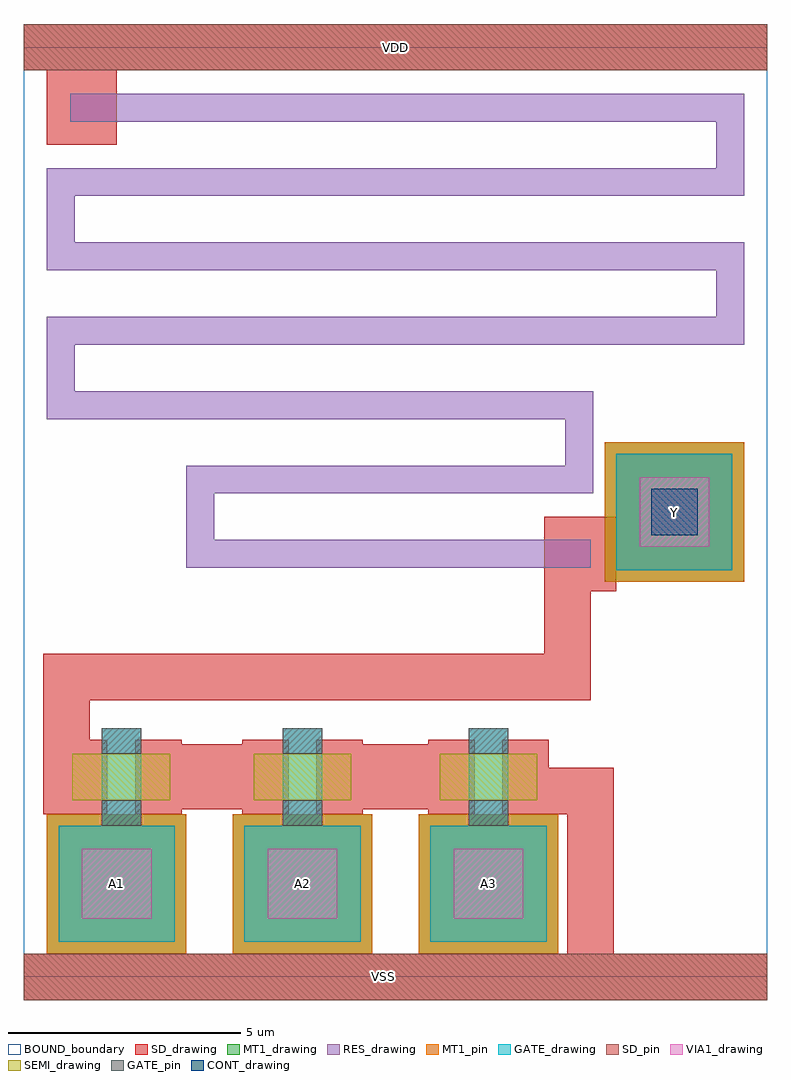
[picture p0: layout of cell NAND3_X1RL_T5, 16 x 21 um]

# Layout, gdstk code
from math import pi, radians
import gdstk
lib = gdstk.Library(unit=1e-6, precision=1e-09)
def R(c, l, rs):  # rectangles x0, y0, x1, y1
    for r in rs: c.add(gdstk.rectangle(r[:2], r[2:], *l))
def A(c, l, x, y, w, h, nx, ny, dx, dy):  # array of equal rectangles
    R(c, l, [(x+i*dx, y+j*dy, x+i*dx+w, y+j*dy+h) for i in range(nx) for j in range(ny)])
def P(c, l, *ps):  # polygons
    for p in ps: c.add(gdstk.Polygon(p, *l))
RES_drawing = (1, 0)
SEMI_drawing = (3, 0)
SD_drawing = (10, 0)
SD_pin = (10, 3)
GATE_drawing = (11, 0)
GATE_pin = (11, 3)
MT1_drawing = (20, 0)
MT1_pin = (20, 3)
CONT_drawing = (30, 0)
VIA1_drawing = (41, 0)
BOUND_boundary = (150, 5)

nch_cdns_772545020590 = lib.new_cell('nch_CDNS_772545020590')
R(nch_cdns_772545020590, SEMI_drawing, [(-1.05,-0.5,1.05,0.5)])
R(nch_cdns_772545020590, SD_drawing, [(-1.3,-0.8,-0.3,0.8), (0.3,-0.8,1.3,0.8)])
R(nch_cdns_772545020590, GATE_drawing, [(-0.425,-1.05,0.425,1.05)])
R(nch_cdns_772545020590, GATE_pin, [(-0.425,-1.05,0.425,-0.5), (-0.425,0.5,0.425,1.05)])

gate_mt1_cdns_7725450205 = lib.new_cell('GATE_MT1_CDNS_772545020590')
R(gate_mt1_cdns_7725450205, GATE_drawing, [(-1.25,-1.25,1.25,1.25)])
R(gate_mt1_cdns_7725450205, MT1_drawing, [(-1.25,-1.25,1.25,1.25)])
R(gate_mt1_cdns_7725450205, VIA1_drawing, [(-0.75,-0.75,0.75,0.75)])

sd_gate_cdns_77254502059 = lib.new_cell('SD_GATE_CDNS_772545020591')
R(sd_gate_cdns_77254502059, SD_drawing, [(-1,-1,1,1)])
R(sd_gate_cdns_77254502059, GATE_drawing, [(-1,-1,1,1)])
R(sd_gate_cdns_77254502059, CONT_drawing, [(-0.5,-0.5,0.5,0.5)])

nand3_x1rl_t5 = lib.new_cell('NAND3_X1RL_T5')
R(nand3_x1rl_t5, SD_drawing, [(11.2,8.3,12.75,9.9), (12.75,8.75,15.25,11.25), (0.5,17.9,2,19.5)])
R(nand3_x1rl_t5, SD_pin, [(0,-0.5,16,0.5), (0,19.5,16,20.5)])
P(nand3_x1rl_t5, GATE_drawing, [(9.475,3.15),(10.475,3.15),(10.475,3.25),(10.375,3.25),(10.375,3.3),(9.625,3.3),(9.625,3.25),(9.475,3.25)],
  [(5.475,3.15),(6.475,3.15),(6.475,3.25),(6.375,3.25),(6.375,3.3),(5.625,3.3),(5.625,3.25),(5.475,3.25)],
  [(1.575,3.15),(2.575,3.15),(2.575,3.25),(2.475,3.25),(2.475,3.3),(1.725,3.3),(1.725,3.25),(1.575,3.25)])
A(nand3_x1rl_t5, MT1_drawing, 0.5, 0.5, 3, 3, 3, 1, 4, 0)
R(nand3_x1rl_t5, MT1_drawing, [(12.5,8.5,15.5,11.5)])
A(nand3_x1rl_t5, MT1_pin, 0.5, 0.5, 3, 3, 3, 1, 4, 0)
R(nand3_x1rl_t5, MT1_pin, [(12.5,8.5,15.5,11.5)])
R(nand3_x1rl_t5, BOUND_boundary, [(0,0,16,20)])
nand3_x1rl_t5.add(gdstk.FlexPath([(11.7,6.45),(11.7,8.3)], 1, ends=(0.5, 0), simple_path=True, layer=10, datatype=0))  # SD_drawing
nand3_x1rl_t5.add(gdstk.FlexPath([(0.925,3.5),(0.925,6.45)], 1, ends=(0, 0.5), simple_path=True, layer=10, datatype=0))  # SD_drawing
nand3_x1rl_t5.add(gdstk.FlexPath([(0.925,6.45),(11.7,6.45)], 1, ends="extended", simple_path=True, layer=10, datatype=0))  # SD_drawing
nand3_x1rl_t5.add(gdstk.FlexPath([(8.7,4.3),(7.3,4.3)], 1.4, ends="flush", simple_path=True, layer=10, datatype=0))  # SD_drawing
nand3_x1rl_t5.add(gdstk.FlexPath([(4.7,4.3),(3.4,4.3)], 1.4, ends="flush", simple_path=True, layer=10, datatype=0))  # SD_drawing
nand3_x1rl_t5.add(gdstk.FlexPath([(12.2,4),(11.3,4)], 1, ends=(0.5, 0), simple_path=True, layer=10, datatype=0))  # SD_drawing
nand3_x1rl_t5.add(gdstk.FlexPath([(12.2,0),(12.2,4)], 1, ends=(0, 0.5), simple_path=True, layer=10, datatype=0))  # SD_drawing
nand3_x1rl_t5.add(gdstk.FlexPath([(0,0),(16,0)], 1, ends="flush", simple_path=True, layer=10, datatype=0))  # SD_drawing
nand3_x1rl_t5.add(gdstk.FlexPath([(0,20),(16,20)], 1, ends="flush", simple_path=True, layer=10, datatype=0))  # SD_drawing
nand3_x1rl_t5.add(gdstk.FlexPath([(1,18.7),(15.2,18.7),(15.2,17.1),(0.8,17.1),(0.8,15.5),(15.2,15.5),(15.2,13.9),(0.8,13.9),(0.8,12.3),(11.95,12.3),(11.95,10.7),(3.8,10.7),(3.8,9.1),(12.2,9.1)], 0.6, ends="flush", simple_path=True, layer=1, datatype=0))  # RES_drawing
nand3_x1rl_t5.add(gdstk.Reference(nch_cdns_772545020590, (10,4.3)))
nand3_x1rl_t5.add(gdstk.Reference(nch_cdns_772545020590, (2.1,4.3)))
nand3_x1rl_t5.add(gdstk.Reference(nch_cdns_772545020590, (6,4.3), rotation=pi, x_reflection=True))
nand3_x1rl_t5.add(gdstk.Reference(gate_mt1_cdns_7725450205, (6,2)))
nand3_x1rl_t5.add(gdstk.Reference(gate_mt1_cdns_7725450205, (14,10)))
nand3_x1rl_t5.add(gdstk.Reference(gate_mt1_cdns_7725450205, (10,2)))
nand3_x1rl_t5.add(gdstk.Reference(gate_mt1_cdns_7725450205, (2,2)))
nand3_x1rl_t5.add(gdstk.Reference(sd_gate_cdns_77254502059, (14,10)))
nand3_x1rl_t5.add(gdstk.Label('VSS', (7.75,0), layer=10, texttype=3))
nand3_x1rl_t5.add(gdstk.Label('VDD', (8,20), layer=10, texttype=3))
nand3_x1rl_t5.add(gdstk.Label('A1', (2,2), layer=20, texttype=3))
nand3_x1rl_t5.add(gdstk.Label('A2', (6,2), layer=20, texttype=3))
nand3_x1rl_t5.add(gdstk.Label('A3', (10,2), layer=20, texttype=3))
nand3_x1rl_t5.add(gdstk.Label('Y', (14,10), layer=20, texttype=3))

lib.write_gds('NAND3_X1RL_T5.gds')
